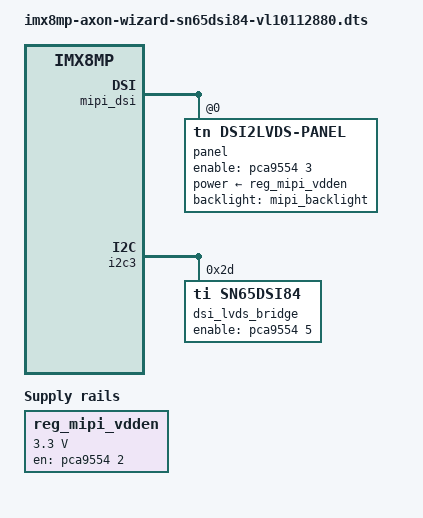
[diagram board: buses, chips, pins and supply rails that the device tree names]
/*
 * Copyright 2020 Technexion Ltd.
 *
 * Author: Richard Hu <richard.hu@technexion.com>, Po Cheng <po.cheng@technexion.com>
 *
 * This program is free software; you can redistribute it and/or
 * modify it under the terms of the GNU General Public License
 * as published by the Free Software Foundation; either version 2
 * of the License, or (at your option) any later version.
 *
 * This program is distributed in the hope that it will be useful,
 * but WITHOUT ANY WARRANTY; without even the implied warranty of
 * MERCHANTABILITY or FITNESS FOR A PARTICULAR PURPOSE.  See the
 * GNU General Public License for more details.
 */

#include "imx8mp-axon-wizard.dts"

/ {
	reg_mipi_pwr: regulator_mipipwr {
		regulator-always-on;
		status = "okay";
	};

	reg_mipi_vdden: regulator_mipivdden {
		pinctrl-names = "default";
		compatible = "regulator-fixed";
		regulator-name = "mipi_vdden";
		regulator-min-microvolt = <3300000>;
		regulator-max-microvolt = <3300000>;
		gpio = <&pca9554 2 GPIO_ACTIVE_HIGH>;
		enable-active-high;
		/* regulator-always-on; */
		status = "okay";
	};

	mipi_backlight {
		status = "okay";
	};
};

&mipi_dsi {
	status = "okay";

	panel@0 {
		reg = <0>;
		compatible = "tn,dsi2lvds-panel";
		backlight = <&mipi_backlight>;
		power-supply = <&reg_mipi_vdden>;
		enable-gpios = <&pca9554 3 GPIO_ACTIVE_HIGH>; /* MIPI_DSI_BL_EN */
		dsi,flags = <0x0007>;
		dsi,format = <0>;
		dsi,lanes = <4>;
		panel-width-mm  = <217>;
		panel-height-mm = <135>;
		bus-format = <0x100a>;	/* MEDIA_BUS_FMT_RGB888_1X24 */
		bus-flags = <1>;
		refresh-rate = <60>;
		rotate = <0>;
		/* horz-flip; */
		/* vert-flip; */

		panel-timing {
			clock-frequency = <71100000>;
			hactive = <1280>;
			hfront-porch = <80>;
			hback-porch = <79>;
			hsync-len = <80>;
			vactive = <800>;
			vfront-porch = <11>;
			vback-porch = <11>;
			vsync-len = <1>;
			/* flags = DISPLAY_FLAGS_HSYNC_HIGH | DISPLAY_FLAGS_VSYNC_HIGH */
			vsync-active = <1>;
			hsync-active = <1>;
		};
	};
};

&i2c3 {
	dsi_lvds_bridge: sn65dsi84@2d {
		reg = <0x2d>;
		status = "okay";
		compatible = "ti,sn65dsi84";
		#gpio-cells = <2>;
		enable-gpios = <&pca9554 5 GPIO_ACTIVE_HIGH>; /* MIPI_DSI_RST */
		sn65dsi84,addresses = <0x09 0x0A 0x0B 0x0D
							0x10 0x11 0x12 0x13
							0x18 0x19 0x1A 0x1B
							0x20 0x21 0x22 0x23
							0x24 0x25 0x26 0x27
							0x28 0x29 0x2A 0x2B
							0x2C 0x2D 0x2E 0x2F
							0x30 0x31 0x32 0x33
							0x34 0x35 0x36 0x37
							0x38 0x39 0x3A 0x3B
							0x3C 0x3D 0x3E 0x0D>;

		sn65dsi84,values = </* reset and clock registers */
							0x00 0x05 0x10 0x00
							/* DSI registers */
							0x26 0x00 0x2d 0x00
							/* LVDS registers */
							0x78 0x00 0x03 0x00

							/* video registers */
							/* cha-al-len-l, cha-al-len-h, chb-al-len-l, chb-al-len-h */
							0x56 0x05 0x00 0x00
							/* cha-v-ds-l, cha-v-ds-h, chb-v-ds-l, chb-v-ds-h */
							0x00 0x00 0x00 0x00
							/* cha-sdl, cha-sdh, chb-sdl, chb-sdh */
							0x21 0x00 0x00 0x00
							/* cha-hs-pwl, cha-hs-pwh, chb-hs-pwl, chb-hs-pwh */
							0x64 0x00 0x00 0x00
							/* cha-vs-pwl, cha-vs-pwh, chb-vs-pwl, chb-vs-pwh */
							0x14 0x00 0x00 0x00
							/*cha-hbp, chb-hbp, cha-vbp, chb-vbp*/
							0x2f 0x00 0x00 0x00
							/* cha-hfp, chb-hfp, cha-vfp, chb-vfp*/
							0x00 0x00 0x00 0x00

							0x00 0x00 0x00 0x01>;
	};
};

